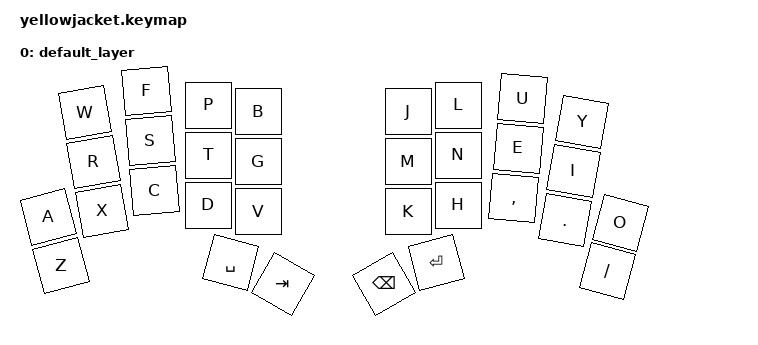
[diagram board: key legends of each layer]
/*
 * Copyright (c) 2020 The ZMK Contributors
 *
 * SPDX-License-Identifier: MIT
 */

#include <behaviors.dtsi>
#include <dt-bindings/zmk/keys.h>
#include <dt-bindings/zmk/bt.h>


&mt {
    // flavor = "tap-preferred";
    // tapping_term_ms = <200>;
};

/ {
    keymap {
        compatible = "zmk,keymap";
                
        default_layer {
            bindings = <
                      &kp W &kp F &kp P &kp B          &kp J &kp L &kp U     &kp Y
                &kp A &kp R &kp S &kp T &kp G          &kp M &kp N &kp E     &kp I   &kp O
                &kp Z &kp X &kp C &kp D &kp V          &kp K &kp H &kp COMMA &kp DOT &kp FSLH 
                                  &kp SPACE &kp TAB    &kp BSPC &kp RET
            >;
        };
    };
};
